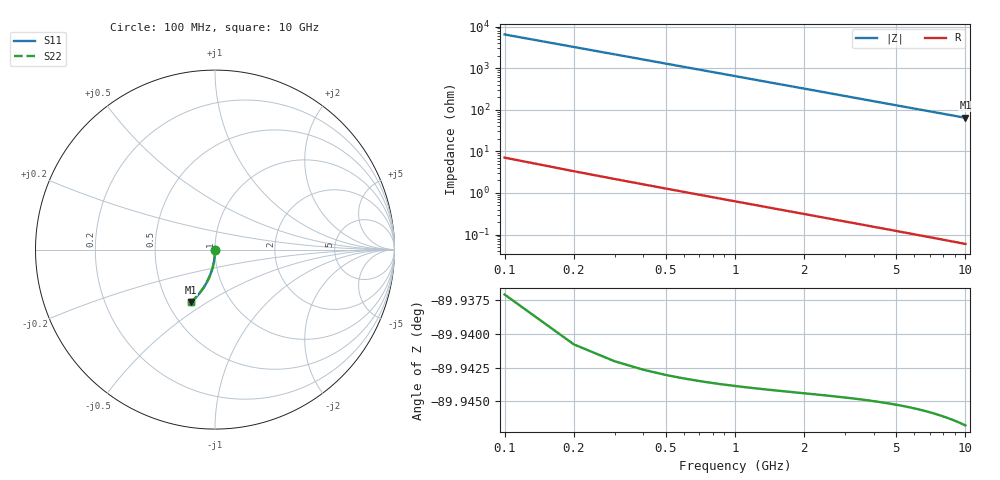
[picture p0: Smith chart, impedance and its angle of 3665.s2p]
# Hz S RI R 50.00
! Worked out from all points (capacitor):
!   100 points, 100 MHz to 10 GHz, reference 50 ohm
!   read as one part in shunt: C = 247 fF near 100 MHz
!   lowest |Z| = 64.2 ohm at 10 GHz (marker M1)
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1e8  9.04e-05 -0.00339  0.9999 -0.00439  0.9999 -0.00439  9.04e-05 -0.00339
2e8  4.28e-05 -0.00677  0.9998 -0.00877  0.9998 -0.00877  4.28e-05 -0.00677
3e8  -3.47e-05 -0.0102  0.9997 -0.0132  0.9997 -0.0132  -3.47e-05 -0.0102
4e8  -0.000142 -0.0135  0.9996 -0.0175  0.9996 -0.0175  -0.000142 -0.0135
5e8  -0.000279 -0.0169  0.9995 -0.0219  0.9995 -0.0219  -0.000279 -0.0169
6e8  -0.000446 -0.0203  0.9993 -0.0263  0.9993 -0.0263  -0.000446 -0.0203
7e8  -0.000642 -0.0237  0.9991 -0.0307  0.9991 -0.0307  -0.000642 -0.0237
8e8  -0.000869 -0.0271  0.9989 -0.0351  0.9989 -0.0351  -0.000869 -0.0271
9e8  -0.00112 -0.0304  0.9986 -0.0395  0.9986 -0.0395  -0.00112 -0.0304
1.1e9  -0.00173 -0.0372  0.998 -0.0482  0.998 -0.0482  -0.00173 -0.0372
1.4e9  -0.00285 -0.0473  0.9968 -0.0613  0.9968 -0.0613  -0.00285 -0.0473
1.8e9  -0.00476 -0.0607  0.9948 -0.0788  0.9948 -0.0788  -0.00476 -0.0607
2.1e9  -0.0065 -0.0707  0.993 -0.0918  0.993 -0.0918  -0.0065 -0.0707
2.5e9  -0.00923 -0.084  0.9902 -0.1091  0.9902 -0.1091  -0.00923 -0.084
2.9e9  -0.0124 -0.0972  0.9869 -0.1263  0.9869 -0.1263  -0.0124 -0.0972
3.4e9  -0.0171 -0.1134  0.9821 -0.1476  0.9821 -0.1476  -0.0171 -0.1134
4.2e9  -0.0259 -0.1389  0.973 -0.1812  0.973 -0.1812  -0.0259 -0.1389
5.1e9  -0.0379 -0.1666  0.9605 -0.2181  0.9605 -0.2181  -0.0379 -0.1666
5.9e9  -0.0502 -0.1902  0.9477 -0.2499  0.9477 -0.2499  -0.0502 -0.1902
6.7e9  -0.0641 -0.2127  0.9334 -0.2806  0.9334 -0.2806  -0.0641 -0.2127
8.4e9  -0.0978 -0.2564  0.8983 -0.342  0.8983 -0.342  -0.0978 -0.2564
1e10  -0.1339 -0.2918  0.8606 -0.3943  0.8606 -0.3943  -0.1339 -0.2918
